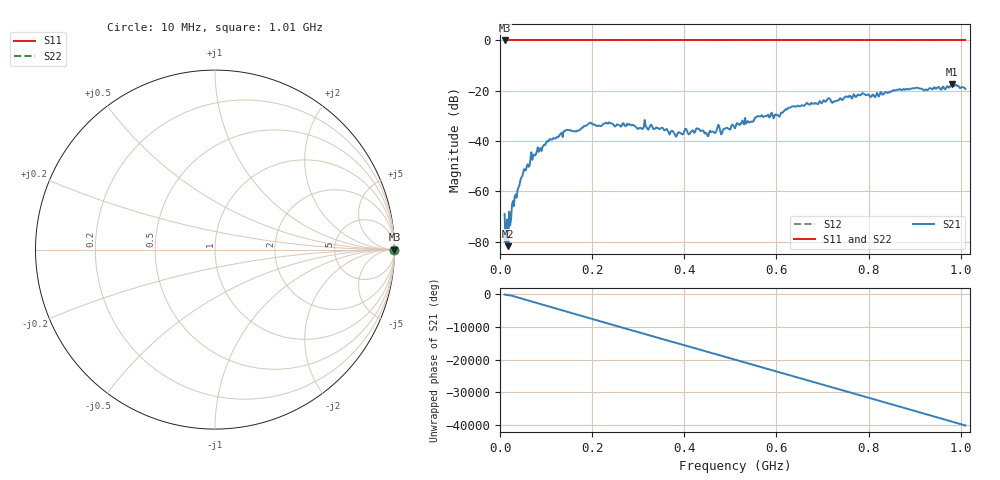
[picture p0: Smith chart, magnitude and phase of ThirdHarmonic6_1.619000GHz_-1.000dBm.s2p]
! 8/16/2025 7:20:10 PM
! C:\ANRITSUVNA\TEMP\TEMP.S2P
! CHANNEL.1
! TR.MEASUREMENT
! RAW.DATA
! RF.CORRECTION.OFF
! AVERAGING.OFF
! IF.BANDWIDTH: 5KHZ
! SWEEPTYPE:  FREQ.SWEEP(Linear)
! Reference Plane Port Info
! PORT:  PORT1  PORT2
! DISTANCE:  0  m  0  m
! TIME:  0  s  0  s
! PHASE.OFFSET:  0  deg.  0  deg.
! LOSS:  0  dB  0  dB
! REF.LOSS:  0  dB  0  dB
! REF.FREQ:  0  Hz  0  Hz
! Power Info
! POWER:  -20  dBm  -20  dBm
! EFF.POWER:  -20  dBm  -20  dBm
! SOURCE.ATTEN:  0  dB  0  dB
! TEST.ATTEN:  0  dB  0  dB
# GHZ S RI R 50.0
! FREQ.GHZ  S11RE  S11IM  S21RE  S21IM  S12RE  S12IM  S22RE  S22IM
!; PortSelection: Port_12
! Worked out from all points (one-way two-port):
!   501 points, 10 MHz to 1.01 GHz, reference 50 ohm
!   highest |S21| = -17.28 dB at 980 MHz (marker M1); lowest = -81.8 dB at 18 MHz (marker M2)
!   lowest |S11| = 0.0 dB at 10 MHz (marker M3)
!   |S11| at or under -10 dB: nowhere
!   |S22| runs from 0.0 to 0.0 dB; largest |S21 - S12| = 1.1
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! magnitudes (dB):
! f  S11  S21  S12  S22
! 10 MHz  0.0  -69.1  0.0  0.0
! 14 MHz  0.0  -73.7  0.0  0.0
! 18 MHz  0.0  -81.8  0.0  0.0
! 22 MHz  0.0  -73.5  0.0  0.0
! 24 MHz  0.0  -71.1  0.0  0.0
! 30 MHz  0.0  -65.9  0.0  0.0
! 48 MHz  0.0  -54.1  0.0  0.0
! 70 MHz  0.0  -47.5  0.0  0.0
! 104 MHz  0.0  -40.2  0.0  0.0
! 142 MHz  0.0  -35.9  0.0  0.0
! 178 MHz  0.0  -34.7  0.0  0.0
! 194 MHz  0.0  -32.9  0.0  0.0
! 234 MHz  0.0  -33.1  0.0  0.0
! 344 MHz  0.0  -35.0  0.0  0.0
! 382 MHz  0.0  -38.3  0.0  0.0
! 430 MHz  0.0  -35.2  0.0  0.0
! 448 MHz  0.0  -36.9  0.0  0.0
! 510 MHz  0.0  -35.0  0.0  0.0
! 678 MHz  0.0  -25.2  0.0  0.0
! 844 MHz  0.0  -20.7  0.0  0.0
! 980 MHz  0.0  -17.3  0.0  0.0
! 1.01 GHz  0.0  -19.3  0.0  0.0
